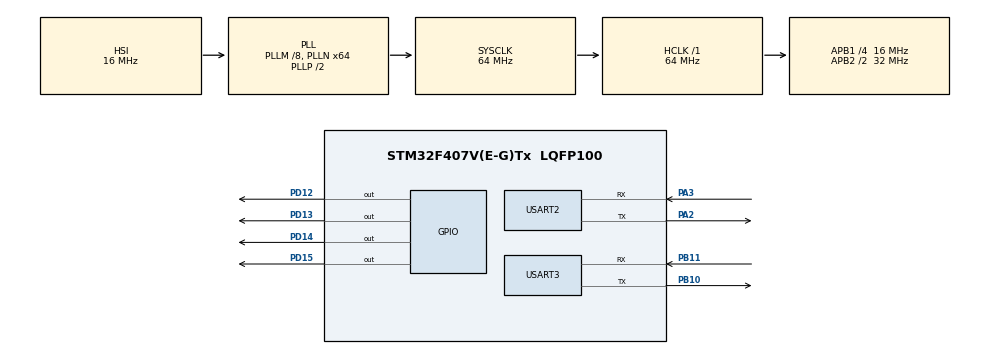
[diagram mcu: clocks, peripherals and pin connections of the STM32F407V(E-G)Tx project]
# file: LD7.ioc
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Mcu.Family=STM32F4
Mcu.Name=STM32F407V(E-G)Tx
Mcu.Package=LQFP100
NVIC.PriorityGroup=NVIC_PRIORITYGROUP_0
NVIC.TIM2_IRQn=true\:0\:0\:false\:false\:true\:true\:true\:true
NVIC.USART2_IRQn=true\:0\:0\:false\:false\:true\:true\:true\:true
NVIC.USART3_IRQn=true\:0\:0\:false\:false\:true\:true\:true\:true
PA2.Mode=Asynchronous
PA2.Signal=USART2_TX
PA3.Mode=Asynchronous
PA3.Signal=USART2_RX
PB10.Mode=Asynchronous
PB10.Signal=USART3_TX
PB11.Mode=Asynchronous
PB11.Signal=USART3_RX
PD12.Signal=GPIO_Output
PD13.Signal=GPIO_Output
PD14.Signal=GPIO_Output
PD15.Signal=GPIO_Output
ProjectManager.HeapSize=0x200
ProjectManager.StackSize=0x400
ProjectManager.TargetToolchain=STM32CubeIDE
RCC.48MHZClocksFreq_Value=18285714.285714287
RCC.AHBFreq_Value=64000000
RCC.APB1CLKDivider=RCC_HCLK_DIV4
RCC.APB1Freq_Value=16000000
RCC.APB1TimFreq_Value=32000000
RCC.APB2CLKDivider=RCC_HCLK_DIV2
RCC.APB2Freq_Value=32000000
RCC.APB2TimFreq_Value=64000000
RCC.CortexFreq_Value=64000000
RCC.HCLKFreq_Value=64000000
RCC.HSE_VALUE=8000000
RCC.HSI_VALUE=16000000
RCC.PLLM=8
RCC.PLLN=64
RCC.PLLQ=7
RCC.SYSCLKFreq_VALUE=64000000
RCC.SYSCLKSource=RCC_SYSCLKSOURCE_PLLCLK
RCC.VCOOutputFreq_Value=128000000
TIM2.Period=2000
TIM2.Prescaler=16000-1
USART2.VirtualMode=VM_ASYNC
USART3.VirtualMode=VM_ASYNC
VP_TIM2_VS_ClockSourceINT.Mode=Internal
board=STM32F407G-DISC1

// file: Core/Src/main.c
/* USER CODE BEGIN Header */
/**
  ******************************************************************************
  * @file           : main.c
  * @brief          : Main program body
  ******************************************************************************
  * @attention
  *
  * Copyright (c) 2024 STMicroelectronics.
  * All rights reserved.
  *
  * This software is licensed under terms that can be found in the LICENSE file
  * in the root directory of this software component.
  * If no LICENSE file comes with this software, it is provided AS-IS.
  *
  ******************************************************************************
  */
/* USER CODE END Header */
#include "main.h"

TIM_HandleTypeDef htim2;

UART_HandleTypeDef huart2;
UART_HandleTypeDef huart3;

void SystemClock_Config(void);
static void MX_GPIO_Init(void);
static void MX_USART2_UART_Init(void);
static void MX_USART3_UART_Init(void);
static void MX_TIM2_Init(void);

int main(void)
{
  /* USER CODE BEGIN 1 */
  uint8_t toSend[4] = {0x06, 0x05, 0x04, 0x03};
  uint8_t toReceive = 0;
  int uzd_nr = 2;
  int send = 0;
  /* USER CODE END 1 */

  /* MCU Configuration--------------------------------------------------------*/

  /* Reset of all peripherals, Initializes the Flash interface and the Systick. */
  HAL_Init();

  /* Configure the system clock */
  SystemClock_Config();

  /* Initialize all configured peripherals */
  MX_GPIO_Init();
  MX_USART2_UART_Init();
  MX_USART3_UART_Init();
  MX_TIM2_Init();
  /* USER CODE BEGIN 2 */
  HAL_TIM_Base_Start_IT(&htim2);
  /* USER CODE END 2 */

  /* Infinite loop */
  /* USER CODE BEGIN WHILE */
  while (1)
  {
	  if (uzd_nr == 1){
	  if (send == 4){
		  send = 0;
	  }
	  HAL_UART_Transmit(&huart2, &toSend[send], 1, HAL_MAX_DELAY);
	  HAL_UART_Receive(&huart3, &toReceive, 1, 1000);
	  if (toReceive == 0x06){
		  HAL_GPIO_WritePin(GPIOD, GPIO_PIN_12, GPIO_PIN_SET);
		  HAL_GPIO_WritePin(GPIOD, GPIO_PIN_13, GPIO_PIN_RESET);
		  HAL_GPIO_WritePin(GPIOD, GPIO_PIN_14, GPIO_PIN_RESET);
		  HAL_GPIO_WritePin(GPIOD, GPIO_PIN_15, GPIO_PIN_RESET);
	  }
	  else if (toReceive == 0x05){
		  HAL_GPIO_WritePin(GPIOD, GPIO_PIN_12, GPIO_PIN_RESET);
		  HAL_GPIO_WritePin(GPIOD, GPIO_PIN_13, GPIO_PIN_SET);
		  HAL_GPIO_WritePin(GPIOD, GPIO_PIN_14, GPIO_PIN_RESET);
		  HAL_GPIO_WritePin(GPIOD, GPIO_PIN_15, GPIO_PIN_RESET);
	  }
	  else if (toReceive == 0x04){
	  	  HAL_GPIO_WritePin(GPIOD, GPIO_PIN_12, GPIO_PIN_RESET);
	  	  HAL_GPIO_WritePin(GPIOD, GPIO_PIN_13, GPIO_PIN_RESET);
	      HAL_GPIO_WritePin(GPIOD, GPIO_PIN_14, GPIO_PIN_SET);
	  	  HAL_GPIO_WritePin(GPIOD, GPIO_PIN_15, GPIO_PIN_RESET);
	  }
	  else if (toReceive == 0x03){
	  	  HAL_GPIO_WritePin(GPIOD, GPIO_PIN_12, GPIO_PIN_RESET);
	  	  HAL_GPIO_WritePin(GPIOD, GPIO_PIN_13, GPIO_PIN_RESET);
	  	  HAL_GPIO_WritePin(GPIOD, GPIO_PIN_14, GPIO_PIN_RESET);
	  	  HAL_GPIO_WritePin(GPIOD, GPIO_PIN_15, GPIO_PIN_SET);
	  }
	  else{
		  HAL_GPIO_WritePin(GPIOD, GPIO_PIN_12, GPIO_PIN_SET);
		  HAL_GPIO_WritePin(GPIOD, GPIO_PIN_13, GPIO_PIN_SET);
		  HAL_GPIO_WritePin(GPIOD, GPIO_PIN_14, GPIO_PIN_SET);
		  HAL_GPIO_WritePin(GPIOD, GPIO_PIN_15, GPIO_PIN_SET);
	  }
	  send++;
	  HAL_Delay(1000);
	  }
    /* USER CODE END WHILE */

  }
}

void SystemClock_Config(void)
{
  RCC_OscInitTypeDef RCC_OscInitStruct = {0};
  RCC_ClkInitTypeDef RCC_ClkInitStruct = {0};

  /** Configure the main internal regulator output voltage
  */
  __HAL_RCC_PWR_CLK_ENABLE();
  __HAL_PWR_VOLTAGESCALING_CONFIG(PWR_REGULATOR_VOLTAGE_SCALE1);

  /** Initializes the RCC Oscillators according to the specified parameters
  * in the RCC_OscInitTypeDef structure.
  */
  RCC_OscInitStruct.OscillatorType = RCC_OSCILLATORTYPE_HSI;
  RCC_OscInitStruct.HSIState = RCC_HSI_ON;
  RCC_OscInitStruct.HSICalibrationValue = RCC_HSICALIBRATION_DEFAULT;
  RCC_OscInitStruct.PLL.PLLState = RCC_PLL_ON;
  RCC_OscInitStruct.PLL.PLLSource = RCC_PLLSOURCE_HSI;
  RCC_OscInitStruct.PLL.PLLM = 8;
  RCC_OscInitStruct.PLL.PLLN = 64;
  RCC_OscInitStruct.PLL.PLLP = RCC_PLLP_DIV2;
  RCC_OscInitStruct.PLL.PLLQ = 7;
  if (HAL_RCC_OscConfig(&RCC_OscInitStruct) != HAL_OK)
  {
    Error_Handler();
  }

  /** Initializes the CPU, AHB and APB buses clocks
  */
  RCC_ClkInitStruct.ClockType = RCC_CLOCKTYPE_HCLK|RCC_CLOCKTYPE_SYSCLK
                              |RCC_CLOCKTYPE_PCLK1|RCC_CLOCKTYPE_PCLK2;
  RCC_ClkInitStruct.SYSCLKSource = RCC_SYSCLKSOURCE_PLLCLK;
  RCC_ClkInitStruct.AHBCLKDivider = RCC_SYSCLK_DIV1;
  RCC_ClkInitStruct.APB1CLKDivider = RCC_HCLK_DIV4;
  RCC_ClkInitStruct.APB2CLKDivider = RCC_HCLK_DIV2;

  if (HAL_RCC_ClockConfig(&RCC_ClkInitStruct, FLASH_LATENCY_2) != HAL_OK)
  {
    Error_Handler();
  }
}

static void MX_TIM2_Init(void)
{

  TIM_ClockConfigTypeDef sClockSourceConfig = {0};
  TIM_MasterConfigTypeDef sMasterConfig = {0};

  htim2.Instance = TIM2;
  htim2.Init.Prescaler = 16000-1;
  htim2.Init.CounterMode = TIM_COUNTERMODE_UP;
  htim2.Init.Period = 2000;
  htim2.Init.ClockDivision = TIM_CLOCKDIVISION_DIV1;
  htim2.Init.AutoReloadPreload = TIM_AUTORELOAD_PRELOAD_DISABLE;
  if (HAL_TIM_Base_Init(&htim2) != HAL_OK)
  {
    Error_Handler();
  }
  sClockSourceConfig.ClockSource = TIM_CLOCKSOURCE_INTERNAL;
  if (HAL_TIM_ConfigClockSource(&htim2, &sClockSourceConfig) != HAL_OK)
  {
    Error_Handler();
  }
  sMasterConfig.MasterOutputTrigger = TIM_TRGO_RESET;
  sMasterConfig.MasterSlaveMode = TIM_MASTERSLAVEMODE_DISABLE;
  if (HAL_TIMEx_MasterConfigSynchronization(&htim2, &sMasterConfig) != HAL_OK)
  {
    Error_Handler();
  }

}

static void MX_USART2_UART_Init(void)
{

  huart2.Instance = USART2;
  huart2.Init.BaudRate = 115200;
  huart2.Init.WordLength = UART_WORDLENGTH_8B;
  huart2.Init.StopBits = UART_STOPBITS_1;
  huart2.Init.Parity = UART_PARITY_NONE;
  huart2.Init.Mode = UART_MODE_TX_RX;
  huart2.Init.HwFlowCtl = UART_HWCONTROL_NONE;
  huart2.Init.OverSampling = UART_OVERSAMPLING_16;
  if (HAL_UART_Init(&huart2) != HAL_OK)
  {
    Error_Handler();
  }

}

static void MX_USART3_UART_Init(void)
{

  huart3.Instance = USART3;
  huart3.Init.BaudRate = 115200;
  huart3.Init.WordLength = UART_WORDLENGTH_8B;
  huart3.Init.StopBits = UART_STOPBITS_1;
  huart3.Init.Parity = UART_PARITY_NONE;
  huart3.Init.Mode = UART_MODE_TX_RX;
  huart3.Init.HwFlowCtl = UART_HWCONTROL_NONE;
  huart3.Init.OverSampling = UART_OVERSAMPLING_16;
  if (HAL_UART_Init(&huart3) != HAL_OK)
  {
    Error_Handler();
  }

}

static void MX_GPIO_Init(void)
{
  GPIO_InitTypeDef GPIO_InitStruct = {0};

  /* GPIO Ports Clock Enable */
  __HAL_RCC_GPIOA_CLK_ENABLE();
  __HAL_RCC_GPIOB_CLK_ENABLE();
  __HAL_RCC_GPIOD_CLK_ENABLE();

  /*Configure GPIO pin Output Level */
  HAL_GPIO_WritePin(GPIOD, GPIO_PIN_12|GPIO_PIN_13|GPIO_PIN_14|GPIO_PIN_15, GPIO_PIN_RESET);

  /*Configure GPIO pins : PD12 PD13 PD14 PD15 */
  GPIO_InitStruct.Pin = GPIO_PIN_12|GPIO_PIN_13|GPIO_PIN_14|GPIO_PIN_15;
  GPIO_InitStruct.Mode = GPIO_MODE_OUTPUT_PP;
  GPIO_InitStruct.Pull = GPIO_NOPULL;
  GPIO_InitStruct.Speed = GPIO_SPEED_FREQ_LOW;
  HAL_GPIO_Init(GPIOD, &GPIO_InitStruct);

}

void Error_Handler(void)
{
  __disable_irq();
  while (1)
  {
  }
}
